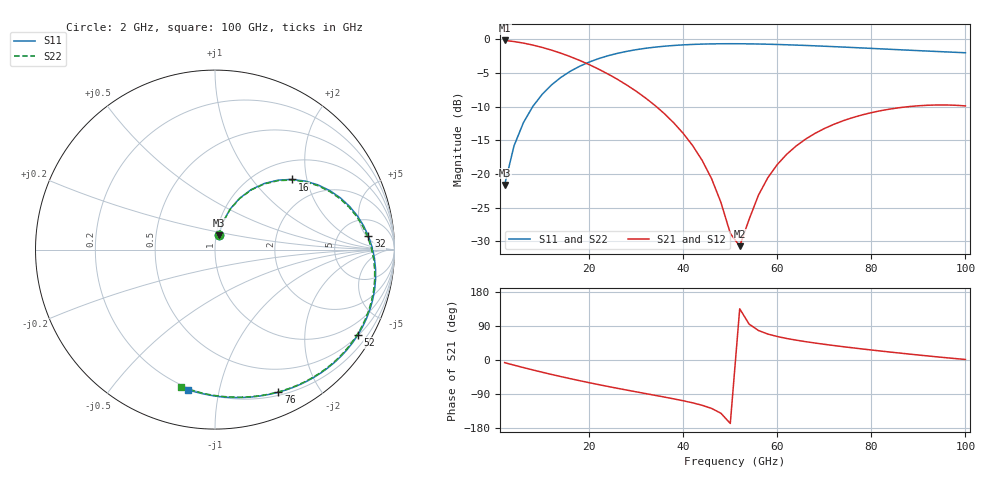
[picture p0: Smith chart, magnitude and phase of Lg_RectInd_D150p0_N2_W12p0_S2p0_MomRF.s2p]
! Created Mon Sep 21 17:41:35 2026
! List of port names and net name(s): example Port n = <port_name> <net_name1> <net_name2> ...
! Port 1 = P1 P1
! Port 2 = P2 P2
# hz S ma R 50
! Port[1]
! Port[2]
! 2 Port Network Data from data block
! freq  magS11  angS11  magS21  angS21  magS12  angS12  magS22  angS22
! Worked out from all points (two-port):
!   50 points, 2 GHz to 100 GHz, reference 50 ohm
!   highest |S21| = -0.16 dB at 2 GHz (marker M1); lowest = -30.7 dB at 52 GHz (marker M2)
!   |S21| within 3 dB of the highest: start of sweep to 18.07 GHz
!   lowest |S11| = -21.7 dB at 2 GHz (marker M3), VSWR 1.18, Z = 51.4 + j8.29 ohm
!   |S11| at or under -10 dB: start of sweep to 7.977 GHz
!   |S22| runs from -21.7 to -0.7 dB; largest |S21 - S12| = 0
!   S11 on the Smith chart (normalised r, x): 2 GHz: 1.03, +0.17; 16 GHz: 1.38, +1.63; 32 GHz: 10, +6; 52 GHz: 0.52, -3.55; 76 GHz: 0.23, -1.51; 100 GHz: 0.19, -0.81
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2e9  0.0826 75.7  0.9812 -7.0  0.9812 -7.0  0.08261 75.6
4e9  0.1616 73.9  0.9631 -13.6  0.9631 -13.6  0.1615 73.7
6e9  0.2403 69.6  0.9379 -20.0  0.9379 -20.0  0.24 69.4
1e10  0.3906 58.9  0.8711 -32.3  0.8711 -32.3  0.3897 58.7
1.6e10  0.5799 42.4  0.7433 -49.3  0.7433 -49.3  0.5782 42.1
2e10  0.6782 32.1  0.6486 -59.9  0.6486 -59.9  0.6759 31.7
2.6e10  0.7871 17.9  0.5043 -74.7  0.5043 -74.7  0.7843 17.4
3.2e10  0.8583 5.0  0.366 -88.6  0.366 -88.6  0.855 4.5
3.6e10  0.8893 -3.0  0.2799 -97.9  0.2799 -97.9  0.8857 -3.5
4e10  0.9098 -10.4  0.1997 -107.6  0.1997 -107.6  0.9061 -11.1
4.4e10  0.922 -17.6  0.1262 -119.4  0.1262 -119.4  0.918 -18.3
4.6e10  0.9254 -21.0  0.09247 -127.7  0.09247 -127.7  0.9213 -21.7
4.8e10  0.9273 -24.3  0.06145 -140.5  0.06145 -140.5  0.9232 -25.1
5e10  0.9279 -27.6  0.03613 -167.4  0.03613 -167.4  0.9237 -28.5
5.2e10  0.9274 -30.8  0.02901 135.2  0.02901 135.2  0.923 -31.7
5.6e10  0.9232 -37.1  0.06961 77.8  0.06961 77.8  0.9187 -38.1
5.8e10  0.9199 -40.1  0.09388 68.4  0.09388 68.4  0.9153 -41.2
6.2e10  0.9114 -46.1  0.1399 56.8  0.1399 56.8  0.9065 -47.2
6.8e10  0.895 -54.8  0.1998 44.8  0.1998 44.8  0.8898 -56.1
7.6e10  0.8697 -66.0  0.2619 32.2  0.2619 32.2  0.8639 -67.6
8.4e10  0.8434 -77.2  0.3034 21.0  0.3034 21.0  0.8369 -79.1
1e11  0.7949 -101.1  0.3201 1.5  0.3201 1.5  0.7863 -103.9
